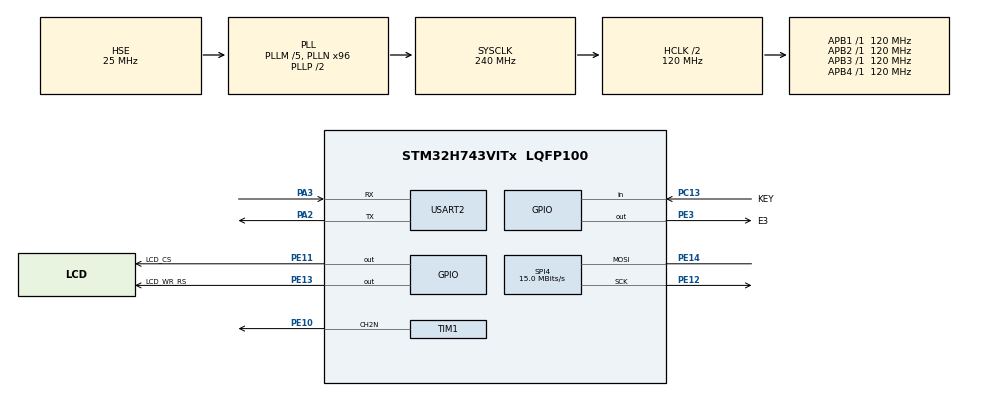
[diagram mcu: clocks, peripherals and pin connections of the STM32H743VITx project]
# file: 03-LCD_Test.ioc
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Mcu.Family=STM32H7
Mcu.Name=STM32H743VITx
Mcu.Package=LQFP100
NVIC.PriorityGroup=NVIC_PRIORITYGROUP_4
NVIC.USART2_IRQn=true\:0\:0\:false\:false\:true\:true\:true\:true
PA13\ (JTMS/SWDIO).Mode=Serial_Wire
PA13\ (JTMS/SWDIO).Signal=DEBUG_JTMS-SWDIO
PA14\ (JTCK/SWCLK).Mode=Serial_Wire
PA14\ (JTCK/SWCLK).Signal=DEBUG_JTCK-SWCLK
PA2.Mode=Asynchronous
PA2.Signal=USART2_TX
PA3.Mode=Asynchronous
PA3.Signal=USART2_RX
PC13.GPIO_Label=KEY
PC13.GPIO_PuPd=GPIO_PULLDOWN
PC13.Signal=GPIO_Input
PC14-OSC32_IN\ (OSC32_IN).Mode=LSE-External-Oscillator
PC14-OSC32_IN\ (OSC32_IN).Signal=RCC_OSC32_IN
PC15-OSC32_OUT\ (OSC32_OUT).Mode=LSE-External-Oscillator
PC15-OSC32_OUT\ (OSC32_OUT).Signal=RCC_OSC32_OUT
PE10.Mode=PWM Generation2 CH2N
PE10.Signal=TIM1_CH2N
PE11.GPIO_Label=LCD_CS
PE11.GPIO_Speed=GPIO_SPEED_FREQ_VERY_HIGH
PE11.PinState=GPIO_PIN_SET
PE11.Signal=GPIO_Output
PE12.GPIO_Speed=GPIO_SPEED_FREQ_HIGH
PE12.Mode=Simplex_Bidirectional_Master
PE12.Signal=SPI4_SCK
PE13.GPIO_Label=LCD_WR_RS
PE13.GPIO_Speed=GPIO_SPEED_FREQ_VERY_HIGH
PE13.PinState=GPIO_PIN_SET
PE13.Signal=GPIO_Output
PE14.GPIO_Speed=GPIO_SPEED_FREQ_HIGH
PE14.Mode=Simplex_Bidirectional_Master
PE14.Signal=SPI4_MOSI
PE3.GPIO_Label=E3
PE3.PinState=GPIO_PIN_RESET
PE3.Signal=GPIO_Output
PH0-OSC_IN\ (PH0).Mode=HSE-External-Oscillator
PH0-OSC_IN\ (PH0).Signal=RCC_OSC_IN
PH1-OSC_OUT\ (PH1).Mode=HSE-External-Oscillator
PH1-OSC_OUT\ (PH1).Signal=RCC_OSC_OUT
ProjectManager.HeapSize=0x200
ProjectManager.StackSize=0x400
ProjectManager.TargetToolchain=MDK-ARM V5.27
RCC.ADCFreq_Value=83333333.33333333
RCC.APB1Freq_Value=120000000
RCC.APB2Freq_Value=120000000
RCC.APB3Freq_Value=120000000
RCC.APB4Freq_Value=120000000
RCC.CortexFreq_Value=240000000
RCC.DIVM1=5
RCC.DIVM2=6
RCC.DIVN1=96
RCC.DIVN2=40
RCC.DIVQ2=1
RCC.HCLKFreq_Value=120000000
RCC.HPRE=RCC_HCLK_DIV2
RCC.HSE_VALUE=25000000
RCC.LSE_Drive_Capability=RCC_LSEDRIVE_MEDIUMHIGH
RCC.PLLFRACN=0
RCC.PLLSourceVirtual=RCC_PLLSOURCE_HSE
RCC.PWR_Regulator_Voltage_Scale=PWR_REGULATOR_VOLTAGE_SCALE0
RCC.RTCClockSelection=RCC_RTCCLKSOURCE_LSE
RCC.SYSCLKFreq_VALUE=240000000
RCC.SYSCLKSource=RCC_SYSCLKSOURCE_PLLCLK
RCC.USBFreq_Value=240000000
RTC.Hours=12
RTC.Month=RTC_MONTH_JUNE
RTC.Year=20
SPI4.BaudRatePrescaler=SPI_BAUDRATEPRESCALER_8
SPI4.CalculateBaudRate=15.0 MBits/s
SPI4.DataSize=SPI_DATASIZE_8BIT
SPI4.Direction=SPI_DIRECTION_1LINE
SPI4.Mode=SPI_MODE_MASTER
SPI4.VirtualType=VM_MASTER
TIM1.Channel-PWM\ Generation2\ CH2N=TIM_CHANNEL_2
TIM1.OCNPolarity_2=TIM_OCNPOLARITY_LOW
TIM1.Period=1000-1
TIM1.Prescaler=12-1
USART2.VirtualMode-Asynchronous=VM_ASYNC
VP_MEMORYMAP_VS_MEMORYMAP.Mode=CurAppReg
VP_RTC_VS_RTC_Activate.Mode=RTC_Enabled
VP_RTC_VS_RTC_Calendar.Mode=RTC_Calendar
board=custom

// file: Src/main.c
/* USER CODE BEGIN Header */
/**
  ******************************************************************************
  * @file           : main.c
  * @brief          : Main program body
  ******************************************************************************
  * @attention
  *
  * <h2><center>&copy; Copyright (c) 2020 STMicroelectronics.
  * All rights reserved.</center></h2>
  *
  * This software component is licensed by ST under BSD 3-Clause license,
  * the "License"; You may not use this file except in compliance with the
  * License. You may obtain a copy of the License at:
  *                        opensource.org/licenses/BSD-3-Clause
  *
  ******************************************************************************
  */
/* USER CODE END Header */
#include "main.h"
#include "rtc.h"
#include "spi.h"
#include "tim.h"
#include "usart.h"
#include "gpio.h"

/* USER CODE BEGIN Includes */
#include "lcd.h"

#include <string.h>

/* USER CODE END Includes */

/* USER CODE BEGIN PV */

	#define RX_BUF_SIZE				32
	uint8_t tx[] = "hello\r\n";
	uint8_t rx[RX_BUF_SIZE];

/* USER CODE END PV */

void SystemClock_Config(void);

/* USER CODE BEGIN 0 */
static void MPU_Config(void)
{
  MPU_Region_InitTypeDef MPU_InitStruct = {0};

  /* Disables the MPU */
  HAL_MPU_Disable();

	/* Configure the MPU attributes for the QSPI 256MB without instruction access */
  MPU_InitStruct.Enable           = MPU_REGION_ENABLE;
  MPU_InitStruct.Number           = MPU_REGION_NUMBER0;
  MPU_InitStruct.BaseAddress      = QSPI_BASE;
  MPU_InitStruct.Size             = MPU_REGION_SIZE_256MB;
  MPU_InitStruct.AccessPermission = MPU_REGION_NO_ACCESS;
  MPU_InitStruct.IsBufferable     = MPU_ACCESS_NOT_BUFFERABLE;
  MPU_InitStruct.IsCacheable      = MPU_ACCESS_NOT_CACHEABLE;
  MPU_InitStruct.IsShareable      = MPU_ACCESS_NOT_SHAREABLE;
  MPU_InitStruct.DisableExec      = MPU_INSTRUCTION_ACCESS_DISABLE;
  MPU_InitStruct.TypeExtField     = MPU_TEX_LEVEL1;
  MPU_InitStruct.SubRegionDisable = 0x00;
  HAL_MPU_ConfigRegion(&MPU_InitStruct);

  /* Configure the MPU attributes for the QSPI 8MB (QSPI Flash Size) to Cacheable WT */
  MPU_InitStruct.Enable           = MPU_REGION_ENABLE;
  MPU_InitStruct.Number           = MPU_REGION_NUMBER1;
  MPU_InitStruct.BaseAddress      = QSPI_BASE;
  MPU_InitStruct.Size             = MPU_REGION_SIZE_8MB;
  MPU_InitStruct.AccessPermission = MPU_REGION_PRIV_RO;
  MPU_InitStruct.IsBufferable     = MPU_ACCESS_BUFFERABLE;
  MPU_InitStruct.IsCacheable      = MPU_ACCESS_CACHEABLE;
  MPU_InitStruct.IsShareable      = MPU_ACCESS_NOT_SHAREABLE;
  MPU_InitStruct.DisableExec      = MPU_INSTRUCTION_ACCESS_ENABLE;
  MPU_InitStruct.TypeExtField     = MPU_TEX_LEVEL1;
  MPU_InitStruct.SubRegionDisable = 0x00;
  HAL_MPU_ConfigRegion(&MPU_InitStruct);

  /* Enables the MPU */
  HAL_MPU_Enable(MPU_PRIVILEGED_DEFAULT);
}

static void CPU_CACHE_Enable(void)
{
  /* Enable I-Cache */
  SCB_EnableICache();

  /* Enable D-Cache */
  SCB_EnableDCache();
}

static void LED_Blink(uint32_t Hdelay,uint32_t Ldelay)
{
	HAL_GPIO_WritePin(E3_GPIO_Port,E3_Pin,GPIO_PIN_SET);
	HAL_Delay(Hdelay - 1);
	HAL_GPIO_WritePin(E3_GPIO_Port,E3_Pin,GPIO_PIN_RESET);
	HAL_Delay(Ldelay-1);
}

/**
  * @brief  Get the current time and date.
  * @param
  * @retval None
  */
static void RTC_CalendarShow(RTC_DateTypeDef *sdatestructureget,RTC_TimeTypeDef *stimestructureget)
{
  /* 必须同时获取时间和日期 不然会导致下次RTC不能读取 */
  /* Both time and date must be obtained or RTC cannot be read next time */
  /* Get the RTC current Time */
  HAL_RTC_GetTime(&hrtc, stimestructureget, RTC_FORMAT_BIN);
  /* Get the RTC current Date */
  HAL_RTC_GetDate(&hrtc, sdatestructureget, RTC_FORMAT_BIN);
}

void HAL_UART_RxCpltCallback(UART_HandleTypeDef *huart)
{

	// need some RX flag reset?
	//

	if(huart == &huart2){

		HAL_UART_Receive_IT(&huart2, rx, 5);
	}
}

/* USER CODE END 0 */

int main(void)
{

  /* USER CODE BEGIN 1 */

  #ifdef W25Qxx
    SCB->VTOR = QSPI_BASE;
  #endif
  MPU_Config();
  CPU_CACHE_Enable();

  /* USER CODE END 1 */

  /* MCU Configuration--------------------------------------------------------*/

  /* Reset of all peripherals, Initializes the Flash interface and the Systick. */
  HAL_Init();

  /* Configure the system clock */
  SystemClock_Config();

  /* Initialize all configured peripherals */
  MX_GPIO_Init();
  MX_RTC_Init();
  MX_SPI4_Init();
  MX_TIM1_Init();
  MX_USART2_UART_Init();
  /* USER CODE BEGIN 2 */
//	HAL_TIMEx_PWMN_Start(&htim1,TIM_CHANNEL_2);
//	__HAL_TIM_SetCompare(&htim1,TIM_CHANNEL_2,10);
	LCD_Test();
  /* USER CODE END 2 */

  /* Infinite loop */
  /* USER CODE BEGIN WHILE */
	uint8_t text[20];
	RTC_DateTypeDef sdatestructureget;
	RTC_TimeTypeDef stimestructureget;

	memset(rx, 0, RX_BUF_SIZE);

	HAL_UART_Receive_IT(&huart2, rx, 5);

  while (1)
  {
    /* USER CODE END WHILE */

    /* USER CODE BEGIN 3 */
		RTC_CalendarShow(&sdatestructureget,&stimestructureget);

		if (stimestructureget.Seconds % 2 == 1)
			sprintf((char *)&text,"Time: %02d:%02d", stimestructureget.Hours, stimestructureget.Minutes);
		else
			sprintf((char *)&text,"Time: %02d %02d", stimestructureget.Hours, stimestructureget.Minutes);
		LCD_ShowString(4, 58, 160, 16, 16, text);

		sprintf((char *)&text,"Tick: %d ms",HAL_GetTick());
		LCD_ShowString(4, 74, 160, 16, 16,text);

		LED_Blink(3,1000);

//		HAL_UART_Transmit(&huart2, tx, sizeof(tx) - 1, 100);

}

  /* USER CODE END 3 */
}

void SystemClock_Config(void)
{
  RCC_OscInitTypeDef RCC_OscInitStruct = {0};
  RCC_ClkInitTypeDef RCC_ClkInitStruct = {0};

  /** Supply configuration update enable
  */
  HAL_PWREx_ConfigSupply(PWR_LDO_SUPPLY);

  /** Configure the main internal regulator output voltage
  */
  __HAL_PWR_VOLTAGESCALING_CONFIG(PWR_REGULATOR_VOLTAGE_SCALE0);

  while(!__HAL_PWR_GET_FLAG(PWR_FLAG_VOSRDY)) {}

  /** Configure LSE Drive Capability
  */
  HAL_PWR_EnableBkUpAccess();
  __HAL_RCC_LSEDRIVE_CONFIG(RCC_LSEDRIVE_MEDIUMHIGH);

  /** Initializes the RCC Oscillators according to the specified parameters
  * in the RCC_OscInitTypeDef structure.
  */
  RCC_OscInitStruct.OscillatorType = RCC_OSCILLATORTYPE_HSE|RCC_OSCILLATORTYPE_LSE;
  RCC_OscInitStruct.HSEState = RCC_HSE_ON;
  RCC_OscInitStruct.LSEState = RCC_LSE_ON;
  RCC_OscInitStruct.PLL.PLLState = RCC_PLL_ON;
  RCC_OscInitStruct.PLL.PLLSource = RCC_PLLSOURCE_HSE;
  RCC_OscInitStruct.PLL.PLLM = 5;
  RCC_OscInitStruct.PLL.PLLN = 96;
  RCC_OscInitStruct.PLL.PLLP = 2;
  RCC_OscInitStruct.PLL.PLLQ = 2;
  RCC_OscInitStruct.PLL.PLLR = 2;
  RCC_OscInitStruct.PLL.PLLRGE = RCC_PLL1VCIRANGE_2;
  RCC_OscInitStruct.PLL.PLLVCOSEL = RCC_PLL1VCOWIDE;
  RCC_OscInitStruct.PLL.PLLFRACN = 0;
  if (HAL_RCC_OscConfig(&RCC_OscInitStruct) != HAL_OK)
  {
    Error_Handler();
  }

  /** Initializes the CPU, AHB and APB buses clocks
  */
  RCC_ClkInitStruct.ClockType = RCC_CLOCKTYPE_HCLK|RCC_CLOCKTYPE_SYSCLK
                              |RCC_CLOCKTYPE_PCLK1|RCC_CLOCKTYPE_PCLK2
                              |RCC_CLOCKTYPE_D3PCLK1|RCC_CLOCKTYPE_D1PCLK1;
  RCC_ClkInitStruct.SYSCLKSource = RCC_SYSCLKSOURCE_PLLCLK;
  RCC_ClkInitStruct.SYSCLKDivider = RCC_SYSCLK_DIV1;
  RCC_ClkInitStruct.AHBCLKDivider = RCC_HCLK_DIV2;
  RCC_ClkInitStruct.APB3CLKDivider = RCC_APB3_DIV1;
  RCC_ClkInitStruct.APB1CLKDivider = RCC_APB1_DIV1;
  RCC_ClkInitStruct.APB2CLKDivider = RCC_APB2_DIV1;
  RCC_ClkInitStruct.APB4CLKDivider = RCC_APB4_DIV1;

  if (HAL_RCC_ClockConfig(&RCC_ClkInitStruct, FLASH_LATENCY_1) != HAL_OK)
  {
    Error_Handler();
  }
}

void Error_Handler(void)
{
  /* USER CODE BEGIN Error_Handler_Debug */
  /* User can add his own implementation to report the HAL error return state */
  LED_Blink(500,500);
  /* USER CODE END Error_Handler_Debug */
}
